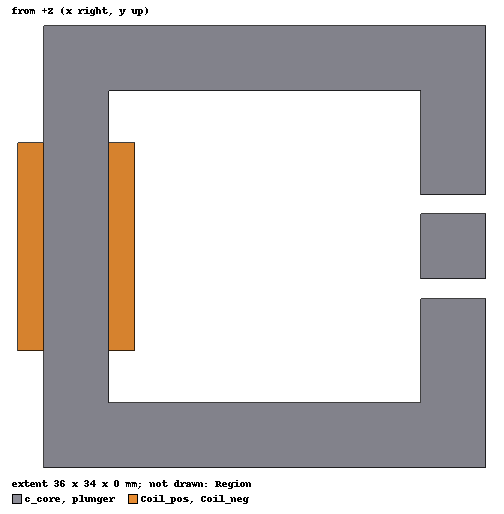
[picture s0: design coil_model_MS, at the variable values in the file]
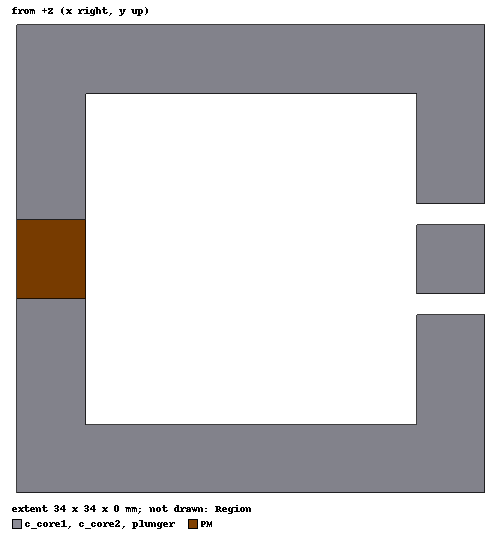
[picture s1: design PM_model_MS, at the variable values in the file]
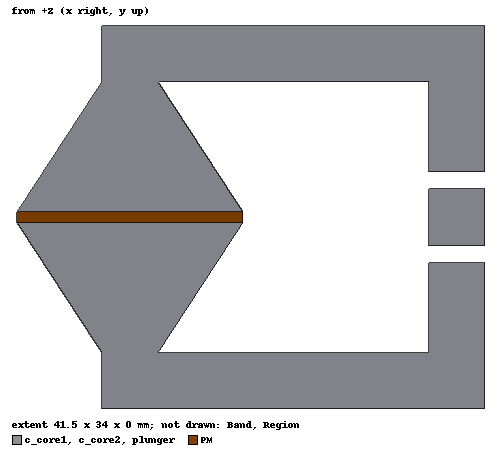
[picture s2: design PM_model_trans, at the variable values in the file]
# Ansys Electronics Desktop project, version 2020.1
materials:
  vacuum: permittivity=1
  iron: permeability=4000 conductivity=10300000
  copper: permeability=0.999991 conductivity=58000000
  VACODYM 633AP  20Â°C: permeability{HUnit=kOe BUnit=tesla curve (-19, -1.9) (-18.9618, -1.81316) (-18.9237, -1.72632) (-18.8855, -1.63947) (-18.8473, -1.55263) (-18.8092, -1.46579) (-18.771, -1.37895) (-18.7328, -1.2921) (-18.6947, -1.20526) (-18.6565, -1.11842) (-18.6183, -1.03158) (-18.5692, -0.935463) (-18.5202, -0.865327) (-18.4711, -0.813935) (-18.422, -0.775376) (-18.3729, -0.745542) (-18.3239, -0.721724) (-18.2748, -0.702152) (-18.2257, -0.685651) (-18.1767, -0.671427) (-18.1276, -0.658928) (-18.0403, -0.639817) (-17.9531, -0.623525) (-17.8659, -0.609179) (-17.7786, -0.59623) (-17.6914, -0.584316) (-17.6041, -0.573187) (-17.5169, -0.562669) (-17.4296, -0.552635) (-17.3424, -0.542992) (-17.2552, -0.532926) (-15.5296, -0.352134) (-13.8041, -0.171341) (-12.1688, 0) (-12.0786, 0.00945162) (-10.3531, 0.190244) (-8.62758, 0.371037) (-6.90206, 0.551829) (-5.17655, 0.732622) (-3.45103, 0.913415) (-1.72552, 1.09421) (0, 1.275)} conductivity=714286 magnetic_coercivity{Magnitude=-12.168817kOe DirComp1=0 DirComp2=1 DirComp3=0}
  steel_1008: permeability{HUnit=A_per_meter BUnit=tesla curve (0, 0) (159.2, 0.2402) (318.3, 0.8654) (477.5, 1.1106) (636.6, 1.2458) (795.8, 1.331) (1591.5, 1.5) (3183.1, 1.6) (4774.6, 1.683) (6366.2, 1.741) (7957.7, 1.78) (15915.5, 1.905) (31831, 2.025) (47746.5, 2.085) (63662, 2.13) (79577.5, 2.165) (159155, 2.28) (318310, 2.485) (397887, 2.5851)} conductivity=2000000 core_loss_type=None mass_density=7872 stacking_type=Solid

design coil_model_MS (Maxwell 2D, Magnetostatic, XY geometry, model units mm)
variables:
  I_exc = 12.85A
  N_turns = 130
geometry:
  c_core [iron] = polyline(z=0mm, xy in mm: (-26.5, 12) (-26.5, -12) (-2.5, -12) (-2.5, -4) (2.5, -4) (2.5, -17) (-31.5, -17) (-31.5, 17) (2.5, 17) (2.5, 4) (-2.5, 4) (-2.5, 12) (-26.5, 12), closed, covered)
  plunger [iron] = polyline(z=0mm, xy in mm: (-2.5, -2.5) (2.5, -2.5) (2.5, 2.5) (-2.5, 2.5) (-2.5, -2.5), closed, covered)
  Coil_pos [copper] = polyline(z=0mm, xy in mm: (-31.5, 8) (-33.5, 8) (-33.5, -8) (-31.5, -8) (-31.5, 8), closed, covered)
  Coil_neg [copper] = polyline(z=0mm, xy in mm: (-24.5, 8) (-26.5, 8) (-26.5, -8) (-24.5, -8) (-24.5, 8), closed, covered)
  Region [vacuum] = region(percentage_offset: +X=100, -X=100, +Y=100, -Y=100, +Z=0, -Z=0)
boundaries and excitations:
  VectorPotential1: Vector Potential Edges=Region.edge(all 4) Value=0
  Current1: Current Objects=Coil_pos Current=I_exc*N_turns IsPositive=true
  Current2: Current Objects=Coil_neg Current=I_exc*N_turns IsPositive=false
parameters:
  Matrix1: Matrix Current1, Current2: NumberOfTurns=130; group Group1 = Current1, Current2 (1 parallel)
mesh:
  initial mesh: MeshMethod=AnsoftTAU
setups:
  Setup1: Magnetostatic MaximumPasses=15 MinimumPasses=2 MinimumConvergedPasses=1 PercentRefinement=30 PercentError=1 NonLinearResidual=0.0001
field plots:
  Mesh1: MeshPlots over c_core, Coil_neg, Coil_pos, plunger on Setup1 : LastAdaptive
  Mag_H1: H over c_core, plunger, Coil_pos, Coil_neg, Region on Setup1 : LastAdaptive

design PM_model_MS (Maxwell 2D, Magnetostatic, XY geometry, model units mm)
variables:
  l_m = 5.74mm
  h_m = 5mm
  l_g = 3mm
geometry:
  c_core1 [iron] = polyline(z=0mm, xy: (-26.5mm, 12mm) (-2.5mm, 12mm) (-2.5mm, 2.5mm+l_g/2) (2.5mm, 2.5mm+l_g/2) (2.5mm, 17mm) (-31.5mm, 17mm) (-31.5mm, 12mm) (-29mm-(h_m/2), l_m/2) (-29mm+(h_m/2), l_m/2) (-26.5mm, 12mm), covered)
  c_core2 [iron] = polyline(z=0mm, xy: (-2.5mm, -12mm) (-2.5mm, -2.5mm-l_g/2) (2.5mm, -2.5mm-l_g/2) (2.5mm, -17mm) (-31.5mm, -17mm) (-31.5mm, -12mm) (-29mm-(h_m/2), -l_m/2) (-29mm+(h_m/2), -l_m/2) (-26.5mm, -12mm) (-2.5mm, -12mm), closed, covered)
  PM [VACODYM 633AP  20Â°C] = polyline(z=0mm, xy: (-29mm-(h_m/2), -l_m/2) (-29mm+(h_m/2), -l_m/2) (-29mm+(h_m/2), l_m/2) (-29mm-(h_m/2), l_m/2) (-29mm-(h_m/2), -l_m/2), closed, covered)
  plunger [iron] = polyline(z=0mm, xy in mm: (-2.5, -2.5) (2.5, -2.5) (2.5, 2.5) (-2.5, 2.5) (-2.5, -2.5), closed, covered)
  Region [vacuum] = region(percentage_offset: +X=100, -X=100, +Y=100, -Y=100, +Z=0, -Z=0)
  point Point1 = (-29mm, 0mm, 0mm)
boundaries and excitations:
  VectorPotential1: Vector Potential Edges=Region.edge(all 4) Value=0
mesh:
  initial mesh: MeshMethod=AnsoftTAU
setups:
  Setup1: Magnetostatic MaximumPasses=15 MinimumPasses=3 MinimumConvergedPasses=1 PercentRefinement=30 PercentError=1 ExpressionCache{CacheItem{Title=B_p1 Expression=B_y TraceID=93 ReportType=9} CacheItem{Title=H_p1 Expression=H_y TraceID=96 ReportType=9}} ConstantDelta=0s NonLinearResidual=0.0001
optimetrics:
  ParametricSetup1: Parametric Sim._Setups=[Setup1]
    sweep l_g: LIN 2mm 6mm 0.5mm
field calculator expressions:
  B_y = EnterCoord(Global) | UnitVecCSY | Fundamental_Quantity(22) | Dot
  H_y = EnterCoord(Global) | UnitVecCSY | Fundamental_Quantity(21) | Dot
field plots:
  Mag_B1, B_Vector1: B over c_core1, c_core2, PM, plunger, Region on Setup1 : LastAdaptive
  Mag_H1, H_Vector1: H over c_core1, c_core2, PM, plunger, Region on Setup1 : LastAdaptive
  Mesh1: MeshPlots over c_core1, c_core2, PM, plunger, Region on Setup1 : LastAdaptive
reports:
  Calculator Expressions Plot 1: B(tesla) vs H(A/m); B_y vs H_y
  Calculator Expressions Plot 2: B_y vs H_y on Setup1 : LastAdaptive [l_m=all l_g=all]

design PM_model_trans (Maxwell 2D, Transient, XY geometry, model units mm)
options: ModelDepth=5mm
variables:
  l_m = 1mm
  h_m = 20mm
  l_g = 3mm
  x_init = 0mm
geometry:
  c_core1 [steel_1008] = polyline(z=0mm, xy: (-26.5mm, 12mm) (-2.5mm, 12mm) (-2.5mm, 2.5mm+l_g/2) (2.5mm, 2.5mm+l_g/2) (2.5mm, 17mm) (-31.5mm, 17mm) (-31.5mm, 12mm) (-29mm-(h_m/2), l_m/2) (-29mm+(h_m/2), l_m/2) (-26.5mm, 12mm), covered)
  c_core2 [steel_1008] = polyline(z=0mm, xy: (-2.5mm, -12mm) (-2.5mm, -2.5mm-l_g/2) (2.5mm, -2.5mm-l_g/2) (2.5mm, -17mm) (-31.5mm, -17mm) (-31.5mm, -12mm) (-29mm-(h_m/2), -l_m/2) (-29mm+(h_m/2), -l_m/2) (-26.5mm, -12mm) (-2.5mm, -12mm), closed, covered)
  PM [VACODYM 633AP  20Â°C] = polyline(z=0mm, xy: (-29mm-(h_m/2), -l_m/2) (-29mm+(h_m/2), -l_m/2) (-29mm+(h_m/2), l_m/2) (-29mm-(h_m/2), l_m/2) (-29mm-(h_m/2), -l_m/2), closed, covered)
  plunger [steel_1008] = polyline(z=0mm, xy: (-2.5mm+x_init, -2.5mm) (2.5mm+x_init, -2.5mm) (2.5mm+x_init, 2.5mm) (-2.5mm+x_init, 2.5mm) (-2.5mm+x_init, -2.5mm), closed, covered)
  Region [vacuum] = region(percentage_offset: +X=10, -X=10, +Y=10, -Y=10, +Z=0, -Z=0)
  point Point1 = (-29mm, 0mm, 0mm)
  Band [vacuum] = polyline(z=0mm, xy in mm: (-15, -3) (15, -3) (15, 3) (-15, 3) (-15, -3), closed, covered)
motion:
  MotionSetup1: Band Move_Type=Translate Coordinate_System=Global PostProcessing_Coordinate_System=Global Axis=X Is_Positive=true InitPos=-5mm NegativePos=-5mm PositivePos=5mm Velocity=1mm_per_sec Objects=Band
  Moving1: Moving Objects=plunger
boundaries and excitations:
  VectorPotential1: Vector Potential Edges=Region.edge(all 4) Value=0
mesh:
  Band_Length: LengthBased RefineInside Objects=Band NumMaxElem=5000
  Background_Length: LengthBased RefineInside Objects=Region NumMaxElem=1000
  Plunger_Length: LengthBased RefineInside Objects=plunger MaxLength=1mm
  Core_Length1: LengthBased RefineInside Objects=c_core1 NumMaxElem=1000
  Core_Length2: LengthBased RefineInside Objects=c_core2 NumMaxElem=1000
  PM_Length: LengthBased RefineInside Objects=PM NumMaxElem=1000
  initial mesh: MeshMethod=AnsoftTAU
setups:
  Setup1: Transient NonlinearSolverResidual=0.0001 StopTime=10s TimeStep=1s SaveFieldsType=Custom SweepRanges{0ms to 10s step 1s} NumberSolveSteps=1 RangeStart=0s RangeEnd=0.1s InitialTimeStep=0.002s MinTimeStep=0.001s MaxTimeStep=0.003s TimeStepErrTolerance=0.0001
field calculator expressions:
  B_y = Fundamental_Quantity(22) | EnterCoord(Global) | UnitVecCSY | Dot
  H_y = Fundamental_Quantity(21) | EnterCoord(Global) | UnitVecCSY | Dot
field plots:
  Mag_B1: B over c_core1, c_core2, PM, plunger, Region, Band on Setup1 : Transient at Time=0ms
  Mag_H1: H over c_core1, c_core2, PM, plunger, Region, Band on Setup1 : Transient at Time=0ms
  Demag_Coef1: Demag-Coef over PM on Setup1 : Transient at Time=3000ms
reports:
  Calculator Expressions Plot 1: B(tesla) vs H(A/m); B_y vs H_y
